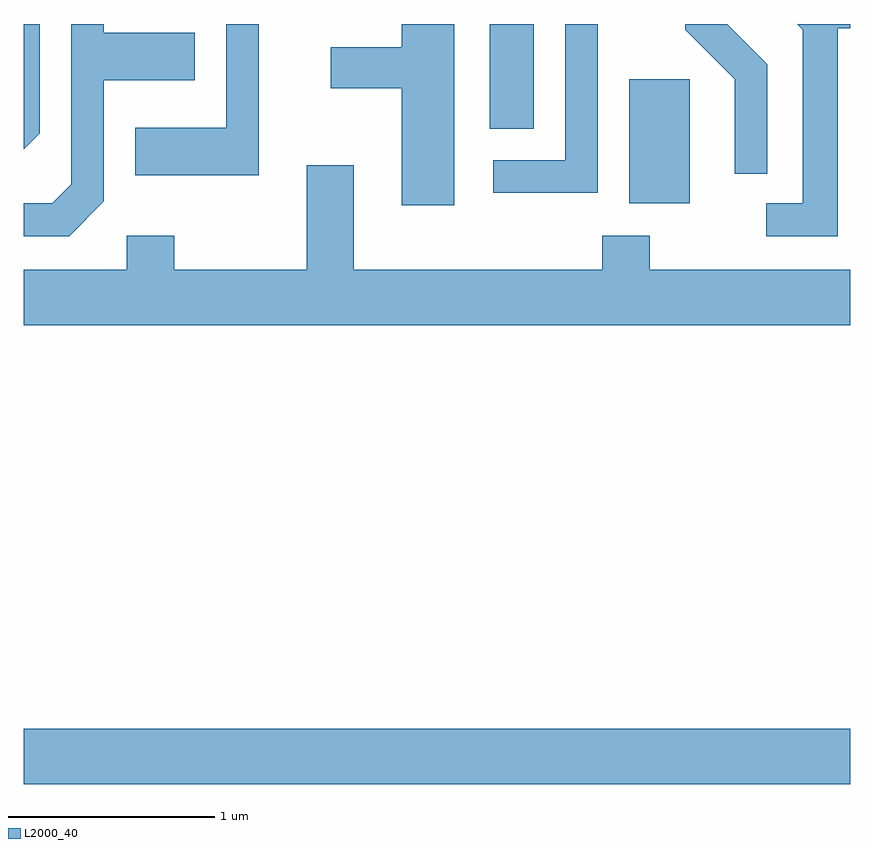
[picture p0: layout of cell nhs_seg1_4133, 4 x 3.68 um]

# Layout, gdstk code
import gdstk
lib = gdstk.Library(unit=1e-6, precision=1e-09)
def R(c, l, rs):  # rectangles x0, y0, x1, y1
    for r in rs: c.add(gdstk.rectangle(r[:2], r[2:], *l))
def P(c, l, *ps):  # polygons
    for p in ps: c.add(gdstk.Polygon(p, *l))
L2000_40 = (2000, 40)

nhs_seg1_4133 = lib.new_cell('nhs_seg1_4133')
R(nhs_seg1_4133, L2000_40, [(309.611,884.036,313.611,884.304), (312.541,886.846,312.834,887.444), (311.866,887.206,312.079,887.712)])
P(nhs_seg1_4133, L2000_40, [(311.694,887.712),(311.441,887.712),(311.441,887.599),(311.096,887.599),(311.096,887.401),(311.441,887.401),(311.441,886.836),(311.694,886.836)],
  [(309.999,886.854),(309.999,887.441),(310.439,887.441),(310.439,887.669),(309.999,887.669),(309.999,887.712),(309.841,887.712),(309.841,886.937),(309.749,886.844),(309.611,886.844),(309.611,886.686),(309.832,886.686)],
  [(310.749,887.712),(310.591,887.712),(310.591,887.209),(310.151,887.209),(310.151,886.981),(310.749,886.981)],
  [(309.689,887.184),(309.689,887.712),(309.611,887.712),(309.611,887.106)],
  [(313.549,887.691),(313.611,887.691),(313.611,887.712),(313.353,887.712),(313.381,887.684),(313.381,886.844),(313.203,886.844),(313.203,886.686),(313.549,886.686)],
  [(312.389,887.712),(312.231,887.712),(312.231,887.054),(311.883,887.054),(311.883,886.896),(312.389,886.896)],
  [(313.209,887.517),(313.014,887.712),(312.811,887.712),(312.811,887.684),(313.051,887.444),(313.051,886.988),(313.209,886.988)],
  [(313.611,886.524),(312.639,886.524),(312.639,886.689),(312.411,886.689),(312.411,886.524),(311.209,886.524),(311.209,887.029),(310.981,887.029),(310.981,886.524),(310.339,886.524),(310.339,886.689),(310.111,886.689),(310.111,886.524),(309.611,886.524),(309.611,886.256),(313.611,886.256)])

lib.write_gds('nhs_seg1_4133.gds')
